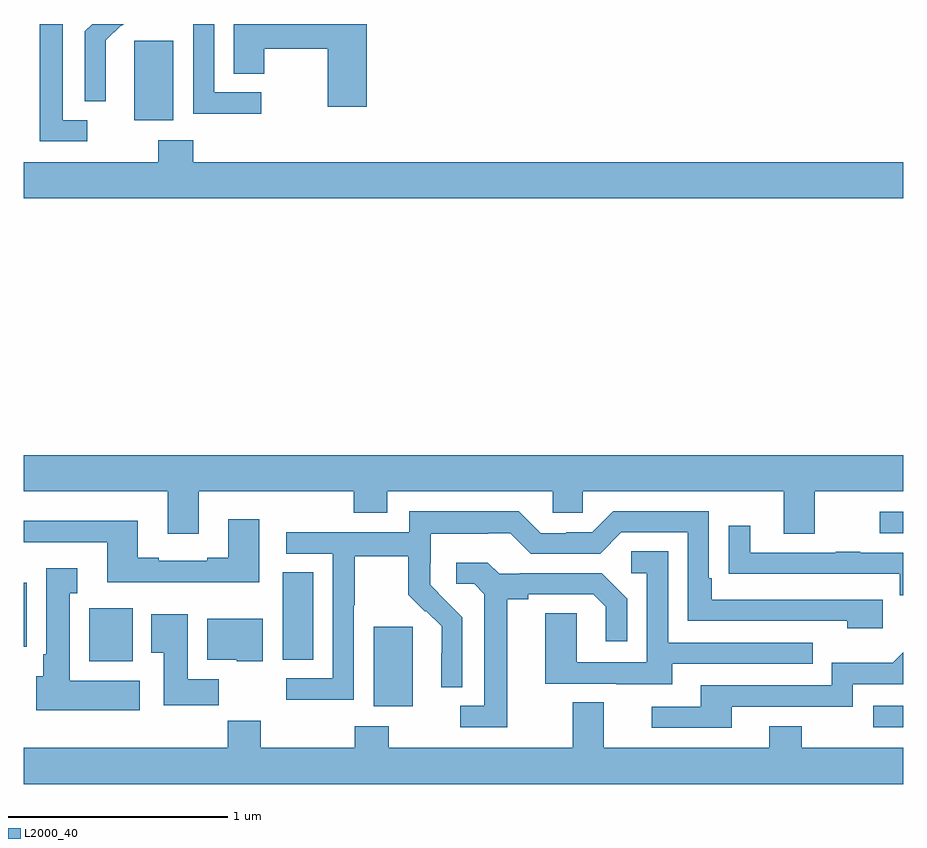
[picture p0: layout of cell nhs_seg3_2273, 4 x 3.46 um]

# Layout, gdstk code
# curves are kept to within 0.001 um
import gdstk
lib = gdstk.Library(unit=1e-6, precision=1e-09)
def R(c, l, rs):  # rectangles x0, y0, x1, y1
    for r in rs: c.add(gdstk.rectangle(r[:2], r[2:], *l))
def P(c, l, *ps):  # polygons
    for p in ps: c.add(gdstk.Polygon(p, *l))
L2000_40 = (2000, 40)

nhs_seg3_2273 = lib.new_cell('nhs_seg3_2273')
R(nhs_seg3_2273, L2000_40, [(232.863,673.203,233,673.299), (230.591,673.298,230.77,673.659), (229.298,673.502,229.495,673.744), (230.177,673.51,230.317,673.907), (229,673.568,229.015,673.86), (232.893,674.085,233,674.181), (229.502,675.962,229.681,676.323)])
P(nhs_seg3_2273, L2000_40, [(230.561,676.4),(229.955,676.4),(229.955,676.174),(230.094,676.174),(230.094,676.288),(230.383,676.288),(230.383,676.023),(230.561,676.023)],
  [(229.374,676.202),(229.373,676.202),(229.373,676.325),(229.443,676.395),(229.446,676.392),(229.454,676.4),(229.312,676.4),(229.278,676.366),(229.278,676.048),(229.374,676.048)],
  [(230.08,676.089),(229.866,676.089),(229.866,676.4),(229.77,676.4),(229.77,675.991),(230.08,675.991)],
  [(229.288,675.963),(229.177,675.963),(229.177,676.4),(229.073,676.4),(229.073,675.867),(229.288,675.867)],
  [(233,675.772),(229.772,675.772),(229.772,675.871),(229.612,675.871),(229.612,675.772),(229,675.772),(229,675.608),(233,675.608)],
  [(229,674.276),(229.655,674.276),(229.655,674.082),(229.795,674.082),(229.795,674.276),(230.501,674.276),(230.501,674.177),(230.653,674.177),(230.653,674.276),(231.405,674.276),(231.405,674.178),(231.543,674.178),(231.543,674.276),(232.457,674.276),(232.457,674.082),(232.597,674.082),(232.597,674.276),(233,674.276),(233,674.44),(229,674.44)],
  [(230.502,673.756),(230.505,673.756),(230.505,673.98),(230.749,673.98),(230.749,673.805),(230.826,673.728),(230.829,673.731),(230.9,673.661),(230.9,673.538),(230.898,673.538),(230.898,673.384),(230.994,673.384),(230.994,673.702),(230.848,673.85),(230.848,673.947),(230.85,673.947),(230.85,674.081),(231.113,674.081),(231.113,674.085),(231.213,674.085),(231.306,673.992),(231.621,673.992),(231.717,674.088),(232.02,674.088),(232.02,673.686),(232.745,673.686),(232.745,673.652),(232.906,673.652),(232.906,673.782),(232.129,673.782),(232.129,673.879),(232.116,673.879),(232.116,674.184),(231.681,674.184),(231.585,674.088),(231.467,674.088),(231.467,674.085),(231.351,674.085),(231.251,674.185),(230.754,674.185),(230.754,674.088),(230.193,674.088),(230.193,673.992),(230.406,673.992),(230.406,673.425),(230.193,673.425),(230.193,673.327),(230.502,673.327)],
  [(230.071,674.149),(229.931,674.149),(229.931,673.972),(229.835,673.972),(229.835,673.959),(229.615,673.959),(229.615,673.972),(229.519,673.972),(229.519,674.14),(229,674.14),(229,674.043),(229.379,674.043),(229.379,673.862),(230.071,673.862)],
  [(233,673.995),(232.805,673.995),(232.805,674),(232.693,674),(232.693,673.995),(232.303,673.995),(232.303,674.119),(232.207,674.119),(232.207,673.9),(232.309,673.9),(232.309,673.899),(232.984,673.899),(232.984,673.802),(233,673.802)],
  [(231.949,673.491),(232.589,673.491),(232.589,673.587),(231.93,673.587),(231.93,674.003),(231.762,674.003),(231.762,673.902),(231.834,673.902),(231.834,673.497),(231.516,673.497),(231.516,673.721),(231.371,673.721),(231.371,673.401),(231.695,673.401),(231.695,673.397),(231.949,673.397)],
  [(231.199,673.784),(231.295,673.784),(231.295,673.806),(231.59,673.806),(231.647,673.749),(231.647,673.593),(231.744,673.593),(231.744,673.786),(231.628,673.902),(231.256,673.902),(231.256,673.899),(231.162,673.899),(231.11,673.951),(230.967,673.951),(230.967,673.854),(231.048,673.854),(231.095,673.807),(231.095,673.299),(230.985,673.299),(230.985,673.203),(231.199,673.203)],
  [(229.528,673.414),(229.21,673.414),(229.21,673.811),(229.243,673.811),(229.243,673.924),(229.103,673.924),(229.103,673.534),(229.088,673.534),(229.088,673.434),(229.058,673.434),(229.058,673.28),(229.528,673.28)],
  [(229.886,673.42),(229.747,673.42),(229.747,673.717),(229.58,673.717),(229.58,673.541),(229.637,673.541),(229.637,673.302),(229.886,673.302)],
  [(230.086,673.696),(229.835,673.696),(229.835,673.508),(229.968,673.508),(229.968,673.502),(230.086,673.502)],
  [(232.219,673.296),(232.77,673.296),(232.77,673.398),(233,673.398),(233,673.544),(232.951,673.495),(232.674,673.495),(232.674,673.392),(232.079,673.392),(232.079,673.296),(231.855,673.296),(231.855,673.2),(232.219,673.2)],
  [(233,673.108),(232.539,673.108),(232.539,673.207),(232.391,673.207),(232.391,673.108),(231.637,673.108),(231.637,673.316),(231.497,673.316),(231.497,673.108),(230.661,673.108),(230.661,673.207),(230.506,673.207),(230.506,673.108),(230.079,673.108),(230.079,673.232),(229.927,673.232),(229.927,673.108),(229,673.108),(229,672.944),(233,672.944)])

lib.write_gds('nhs_seg3_2273.gds')
